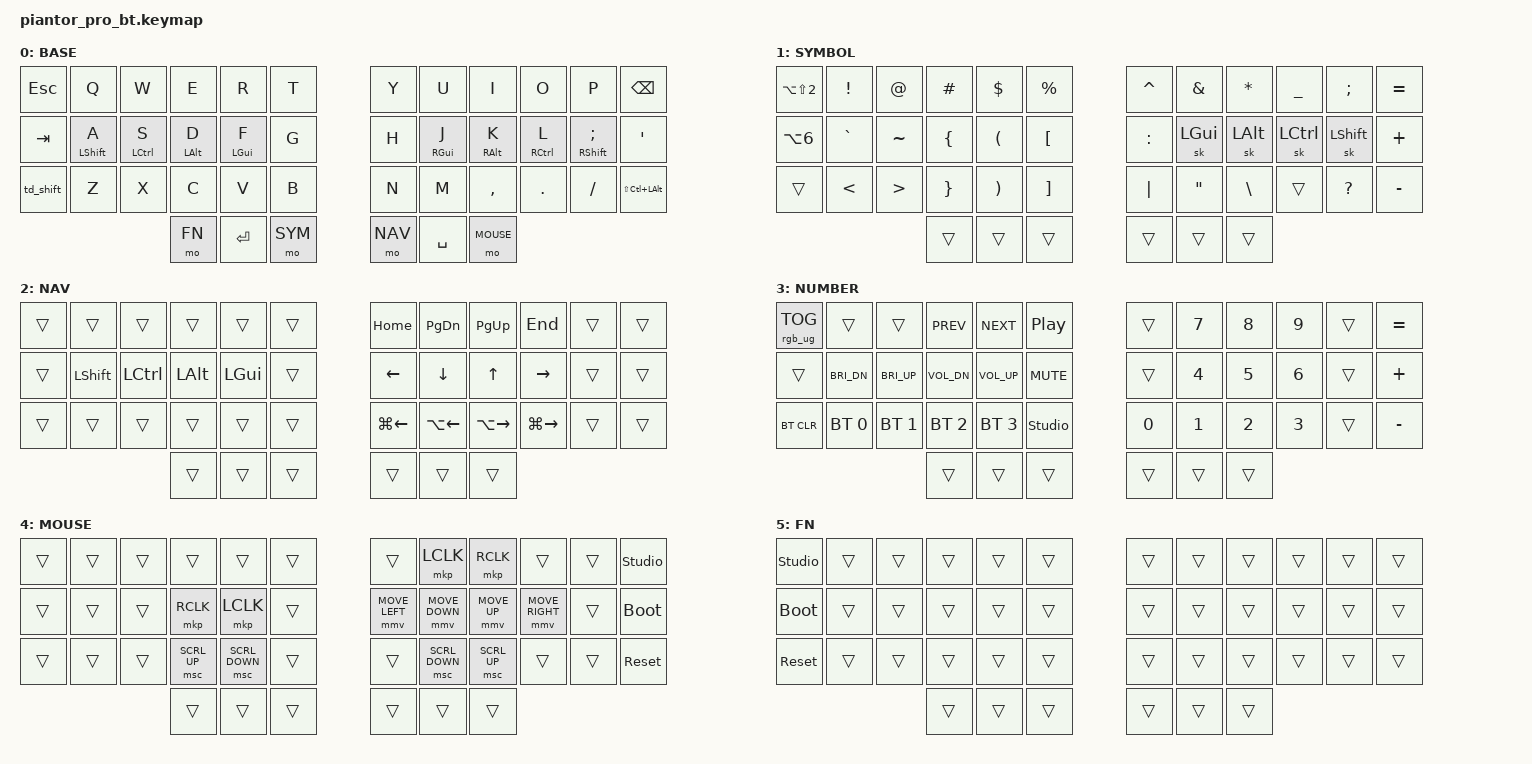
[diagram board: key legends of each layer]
/*
 * Copyright (c) 2020 The ZMK Contributors
 *
 * SPDX-License-Identifier: MIT
 */

#include <behaviors.dtsi>
#include <dt-bindings/zmk/keys.h>
#include <dt-bindings/zmk/bt.h>
#include <dt-bindings/zmk/rgb.h>
#include <dt-bindings/zmk/pointing.h>

// Layer aliases
#define BASE   0
#define SYM    1
#define NAV    2
#define NUM    3
#define MOUSE  4
#define FN     5

// Mac modifier chords
#define MEH   LS(LC(LALT))
#define HYPER LS(LC(LA(LGUI)))

/ {
    chosen {
        zmk,physical-layout = &default_layout;
    };

    behaviors {
        // Home-row mod — LEFT half (opposite-hand trigger only)
        hml: home_row_mod_left {
            compatible = "zmk,behavior-hold-tap";
            #binding-cells = <2>;
            flavor = "balanced";
            tapping-term-ms = <200>;
            quick-tap-ms = <175>;
            require-prior-idle-ms = <150>;
            bindings = <&kp>, <&kp>;
            hold-trigger-key-positions = <6 7 8 9 10 11 18 19 20 21 22 23 30 31 32 33 34 35 36 37 38 39 40 41>;
            hold-trigger-on-release;
        };

        // Home-row mod — RIGHT half (mirror of hml)
        hmr: home_row_mod_right {
            compatible = "zmk,behavior-hold-tap";
            #binding-cells = <2>;
            flavor = "balanced";
            tapping-term-ms = <200>;
            quick-tap-ms = <175>;
            require-prior-idle-ms = <150>;
            bindings = <&kp>, <&kp>;
            hold-trigger-key-positions = <0 1 2 3 4 5 12 13 14 15 16 17 24 25 26 27 28 29 36 37 38 39 40 41>;
            hold-trigger-on-release;
        };

        // Outer-left pinky: tap = Shift, double-tap = Caps Word
        td_shift: tap_dance_shift {
            compatible = "zmk,behavior-tap-dance";
            #binding-cells = <0>;
            tapping-term-ms = <200>;
            bindings = <&kp LSHFT>, <&caps_word>;
        };
    };

    // Holding SYM (L-inner) + NAV (R-inner) together activates NUM (3).
    conditional_layers {
        compatible = "zmk,conditional-layers";
        tri_layer_num {
            if-layers = <SYM NAV>;
            then-layer = <NUM>;
        };
    };

    combos {
        compatible = "zmk,combos";

        combo_esc {        // W + E
            timeout-ms = <50>;
            key-positions = <2 3>;
            bindings = <&kp ESC>;
        };
        combo_tab {        // X + C
            timeout-ms = <50>;
            key-positions = <26 27>;
            bindings = <&kp TAB>;
        };
        combo_bspc {       // I + O
            timeout-ms = <50>;
            key-positions = <8 9>;
            bindings = <&kp BSPC>;
        };
        combo_enter {      // , + .
            timeout-ms = <50>;
            key-positions = <32 33>;
            bindings = <&kp RET>;
        };
    };

    keymap {
        compatible = "zmk,keymap";

        default_layer {
            display-name = "BASE";
            // -----------------------------------------------------------------------------------------
            // | ESC |   Q   |   W   |   E   |   R   | T |   Y |   U   |   I   |   O   |   P   | BSPC |
            // | TAB | A/SFT | S/CTL | D/ALT | F/GUI | G |   H | J/GUI | K/ALT | L/CTL | ;/SFT |  '   |
            // | SFT |   Z   |   X   |   C   |   V   | B |   N |   M   |   ,   |   .   |   /   | MEH  |
            //                         | FN | RET | SYM |   NAV | SPC | MOUSE |
            bindings = <
                &kp ESC    &kp Q         &kp W         &kp E        &kp R        &kp T      &kp Y &kp U         &kp I         &kp O          &kp P           &kp BSPC
                &kp TAB    &hml LSHFT A  &hml LCTRL S  &hml LALT D  &hml LGUI F  &kp G      &kp H &hmr RGUI J   &hmr RALT K   &hmr RCTRL L   &hmr RSHFT SEMI &kp SQT
                &td_shift  &kp Z         &kp X         &kp C        &kp V        &kp B      &kp N &kp M         &kp COMMA     &kp DOT        &kp FSLH        &kp MEH
                                                        &mo FN  &kp RET  &mo SYM    &mo NAV  &kp SPACE  &mo MOUSE
            >;
        };

        sym_layer {
            display-name = "SYMBOL";
            // -----------------------------------------------------------------------------------------
            // |  € | ! | @ | # | $ | % |   | ^ |  &  |  *  |  _  |  ;  | = |
            // |  § | ` | ~ | { | ( | [ |   | : | CMD | OPT | CTL | SFT | + |
            // |    | < | > | } | ) | ] |   | | |  "  |  \  |     |  ?  | - |
            bindings = <
                &kp LA(LS(N2)) &kp EXCL  &kp AT    &kp HASH  &kp DLLR  &kp PRCNT    &kp CARET &kp AMPS  &kp ASTRK &kp UNDER &kp SEMI  &kp EQUAL
                &kp LA(N6)     &kp GRAVE &kp TILDE &kp LBRC  &kp LPAR  &kp LBKT     &kp COLON &sk LGUI  &sk LALT  &sk LCTRL &sk LSHFT &kp PLUS
                &trans         &kp LT    &kp GT    &kp RBRC  &kp RPAR  &kp RBKT     &kp PIPE  &kp DQT   &kp BSLH  &trans    &kp QMARK &kp MINUS
                                                   &trans &trans &trans    &trans &trans &trans
            >;
        };

        nav_layer {
            display-name = "NAV";
            // -----------------------------------------------------------------------------------------
            // |   |     |     |     |     |   |   | HOME | PGDN | PGUP | END |   |   |
            // |   | SFT | CTL | ALT | CMD |   |   |  ←   |  ↓   |  ↑   |  →  |   |   |
            // |   |     |     |     |     |   |   | SOL  | W←   | W→   | EOL |   |   |
            bindings = <
                &trans &trans    &trans    &trans   &trans   &trans    &kp HOME       &kp PG_DN    &kp PG_UP     &kp END        &trans &trans
                &trans &kp LSHFT &kp LCTRL &kp LALT &kp LGUI &trans    &kp LEFT       &kp DOWN     &kp UP        &kp RIGHT      &trans &trans
                &trans &trans    &trans    &trans   &trans   &trans    &kp LG(LEFT)   &kp LA(LEFT) &kp LA(RIGHT) &kp LG(RIGHT)  &trans &trans
                                                    &trans &trans &trans    &trans &trans &trans
            >;
        };

        num_layer {
            display-name = "NUMBER";
            // -----------------------------------------------------------------------------------------
            // | RGB |     |     | PREV | NEXT | PLAY |   |   | 7 | 8 | 9 |   | = |
            // |     | BRI-| BRI+| VOL- | VOL+ | MUTE |   |   | 4 | 5 | 6 |   | + |
            // |BTCLR| BT1 | BT2 | BT3  | BT4  | STUD |   | 0 | 1 | 2 | 3 |   | - |
            bindings = <
                &rgb_ug RGB_TOG &trans          &trans          &kp C_PREV   &kp C_NEXT   &kp C_PP        &trans &kp N7 &kp N8 &kp N9 &trans &kp EQUAL
                &trans          &kp C_BRI_DN    &kp C_BRI_UP    &kp C_VOL_DN &kp C_VOL_UP &kp C_MUTE      &trans &kp N4 &kp N5 &kp N6 &trans &kp PLUS
                &bt BT_CLR      &bt BT_SEL 0    &bt BT_SEL 1    &bt BT_SEL 2 &bt BT_SEL 3 &studio_unlock  &kp N0 &kp N1 &kp N2 &kp N3 &trans &kp MINUS
                                                                &trans &trans &trans    &trans &trans &trans
            >;
        };

        mouse_layer {
            display-name = "MOUSE";
            // -----------------------------------------------------------------------------------------
            // |     |      |      |      |      |   |   |      | LCLK | RCLK |      |   | STU  |
            // |     |      |      | RCLK | LCLK |   |   | MS←  | MS↓  | MS↑  | MS→  |   | BOOT |
            // |     |      |      | SCL↑ | SCL↓ |   |   |      | SCL↓ | SCL↑ |      |   | RST  |
            bindings = <
                &trans &trans &trans &trans         &trans          &trans    &trans          &mkp LCLK       &mkp RCLK      &trans          &trans &studio_unlock
                &trans &trans &trans &mkp RCLK      &mkp LCLK       &trans    &mmv MOVE_LEFT  &mmv MOVE_DOWN  &mmv MOVE_UP   &mmv MOVE_RIGHT &trans &bootloader
                &trans &trans &trans &msc SCRL_UP   &msc SCRL_DOWN  &trans    &trans          &msc SCRL_DOWN  &msc SCRL_UP   &trans          &trans &sys_reset
                                                    &trans &trans &trans    &trans &trans &trans
            >;
        };

        fn_layer {
            display-name = "FN";
            // -----------------------------------------------------------------------------------------
            // | STU |   |   |   |   |   |   |   |   |   |   |   |
            // | BOOT|   |   |   |   |   |   |   |   |   |   |   |
            // | RST |   |   |   |   |   |   |   |   |   |   |   |
            bindings = <
                &studio_unlock &trans &trans &trans &trans &trans    &trans &trans &trans &trans &trans &trans
                &bootloader    &trans &trans &trans &trans &trans    &trans &trans &trans &trans &trans &trans
                &sys_reset     &trans &trans &trans &trans &trans    &trans &trans &trans &trans &trans &trans
                                                   &trans &trans &trans    &trans &trans &trans
            >;
        };
    };
};
